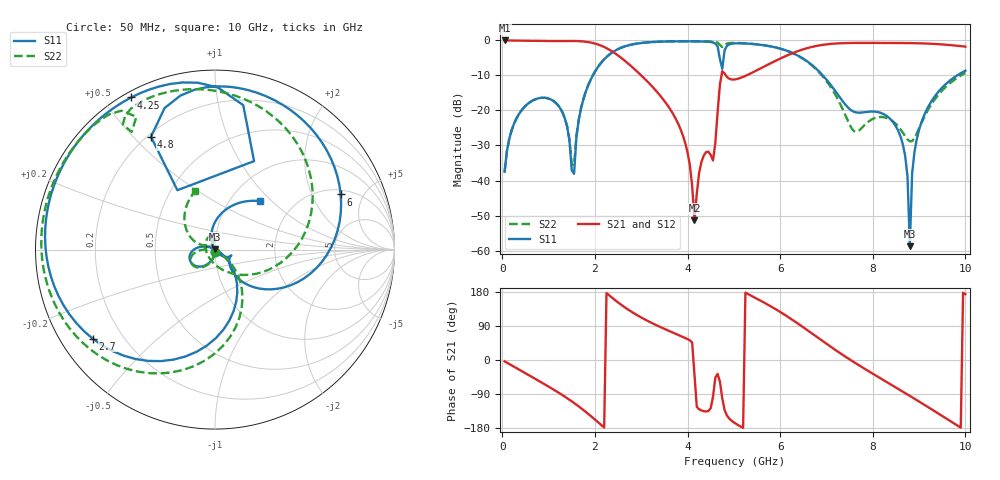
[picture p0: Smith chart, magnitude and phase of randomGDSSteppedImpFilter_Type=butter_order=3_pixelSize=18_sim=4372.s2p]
! freq	dB(S11)	phase(S11)	dB(S12)	phase(S12)
!  dB(S21)	phase(S21)	dB(S22)	phase(S22)
!S-par simulation data
#  GHz  S  DB  R 50
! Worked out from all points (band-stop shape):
!   200 points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, 50 MHz to 10 GHz, reference 50 ohm
!   highest |S21| = -0.01 dB at 50 MHz (marker M1); lowest = -51.4 dB at 4.15 GHz (marker M2)
!   |S21| within 3 dB of the highest: start of sweep to 2.356 GHz; 6.393 GHz to end of sweep
!   lowest |S11| = -58.7 dB at 8.8 GHz (marker M3), VSWR 1.00, Z = 50 + j0.115 ohm
!   |S11| at or under -10 dB: start of sweep to 1.956 GHz; 6.921 GHz to 9.82 GHz (2.899 GHz wide, 34.6 % of centre)
!   |S22| runs from -37.5 to -0.2 dB; largest |S21 - S12| = 0
!   S11 on the Smith chart (normalised r, x): 50 MHz: 1.00, -0.03; 2.7 GHz: 0.09, -0.32; 4.25 GHz: 0.02, +0.59; 4.8 GHz: 0.21, +0.56; 6 GHz: 2.26, +3.33; 10 GHz: 1.37, +0.85
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0.05  -37.49 -92.5  -0.01 -3.6  -0.01 -3.6  -37.49 -92.2
0.9  -16.37 -156.3  -0.18 -63.0  -0.18 -63.0  -16.36 -150.2
1.55  -38.09 -20.5  -0.16 -113.4  -0.16 -113.4  -35.63 -60.6
1.75  -16.85 -46.6  -0.29 -131.8  -0.29 -131.8  -16.78 -43.5
2.7  -1.48 -143.9  -6.40 134.4  -6.40 134.4  -1.46 -130.4
3.4  -0.36 167.0  -15.61 87.7  -15.61 87.7  -0.34 -174.2
3.95  -0.25 136.0  -29.28 58.2  -29.28 58.2  -0.22 159.7
4.15  -0.27 124.7  -51.36 -37.0  -51.36 -37.0  -0.23 150.7
4.25  -0.29 118.8  -37.81 -130.0  -37.81 -130.0  -0.23 146.1
4.55  -0.59 95.9  -34.29 -97.3  -34.29 -97.3  -0.32 131.1
4.7  -5.37 66.2  -12.49 -57.4  -12.49 -57.4  -1.31 120.6
4.8  -2.82 119.6  -9.45 -131.8  -9.45 -131.8  -1.25 126.4
5.05  -0.82 88.8  -11.07 -168.7  -11.07 -168.7  -0.71 112.6
6  -2.33 23.7  -5.19 126.9  -5.19 126.9  -2.33 55.8
6.7  -7.16 -28.7  -1.81 68.8  -1.81 68.8  -7.29 -1.8
7.5  -19.59 -40.6  -0.73 1.6  -0.73 1.6  -24.04 -111.9
8.35  -22.08 -31.7  -0.72 -61.8  -0.72 -61.8  -22.41 94.0
8.7  -32.98 -50.2  -0.74 -87.3  -0.74 -87.3  -27.34 96.0
8.8  -58.75 94.7  -0.76 -94.7  -0.76 -94.7  -28.82 114.9
8.85  -38.00 119.2  -0.77 -98.4  -0.77 -98.4  -28.72 128.0
9.05  -23.40 107.4  -0.83 -113.4  -0.83 -113.4  -23.58 159.1
10  -8.66 46.9  -1.77 173.7  -1.77 173.7  -9.30 108.9
